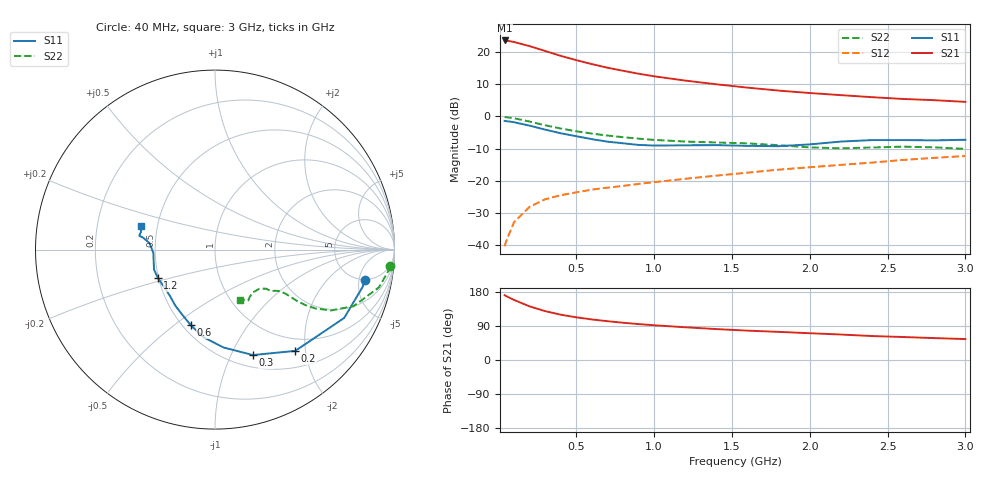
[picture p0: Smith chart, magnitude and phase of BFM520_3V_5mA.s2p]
! Filename: BFM520A.2sp
! Bias: Vce=3V; Ic=5mA
! Company: Philips Semiconductors NL
! User: Quality&Reliability T&D
! Measure time:  1 May 2001 / 10:26:30
#  MHz  S  MA  R 50
! Freq  S11  S21  S12  S22  :
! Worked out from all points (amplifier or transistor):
!   22 points, 40 MHz to 3 GHz, reference 50 ohm
!   highest |S21| = 23.7 dB at 40 MHz (marker M1)
!   |S21| within 3 dB of that: start of sweep to 282 MHz
!   unconditionally stable (mu >= 1): 1.187 GHz to 2.463 GHz
!   at 200 MHz: K = 0.27, MSG = 25.1 dB, |S12| = -28.2 dB
!   at 1 GHz: K = 0.96, MSG = 16.5 dB, |S12| = -20.5 dB
!   at 3 GHz: K = 0.98, MSG = 8.4 dB, |S12| = -12.3 dB
!   S11 on the Smith chart (normalised r, x): 40 MHz: 4.95, -6.12; 200 MHz: 0.77, -1.81; 300 MHz: 0.63, -1.22; 600 MHz: 0.55, -0.58; 1.2 GHz: 0.50, -0.18; 3 GHz: 0.40, +0.13
40  0.8533 -11.4  15.35 171.0  0.009483 84.2  0.9799 -5.5
50  0.8478 -14.3  15.29 168.7  0.01125 82.2  0.9749 -6.8
100  0.8143 -27.9  14.54 158.6  0.02235 77.4  0.9378 -12.9
200  0.72 -51.6  12.52 141.6  0.0389 66.6  0.834 -22.2
300  0.6246 -70.2  10.53 129.0  0.0511 60.2  0.7307 -27.6
400  0.5477 -85.0  8.832 119.6  0.05913 57.8  0.6493 -30.4
500  0.4928 -97.4  7.57 112.7  0.06556 57.4  0.5877 -31.6
600  0.443 -107.6  6.567 107.0  0.07219 57.2  0.5412 -32.0
700  0.405 -117.1  5.769 102.4  0.07756 57.5  0.5047 -32.0
800  0.3823 -125.4  5.167 98.4  0.0826 58.4  0.4754 -32.0
900  0.3601 -134.1  4.651 94.8  0.08866 59.6  0.4513 -32.2
1000  0.3521 -141.7  4.239 91.7  0.09442 60.6  0.4316 -32.5
1200  0.3552 -153.8  3.63 86.4  0.1067 62.9  0.4063 -34.3
1400  0.3575 -161.8  3.18 81.6  0.1195 65.0  0.3933 -35.9
1600  0.3482 -168.8  2.819 77.5  0.1329 67.0  0.3804 -36.7
1800  0.3439 -177.1  2.535 74.3  0.1481 68.4  0.3568 -37.5
2000  0.367 174.3  2.324 70.6  0.1615 69.1  0.3294 -41.6
2200  0.4065 170.5  2.153 67.2  0.1758 69.6  0.3184 -48.5
2400  0.4283 169.7  2.001 63.2  0.191 70.6  0.3284 -54.2
2600  0.4288 169.1  1.877 60.6  0.21 70.8  0.3386 -56.7
2800  0.424 166.6  1.797 57.8  0.2262 70.5  0.3303 -58.6
3000  0.4334 162.5  1.69 55.2  0.2417 71.1  0.312 -63.5
